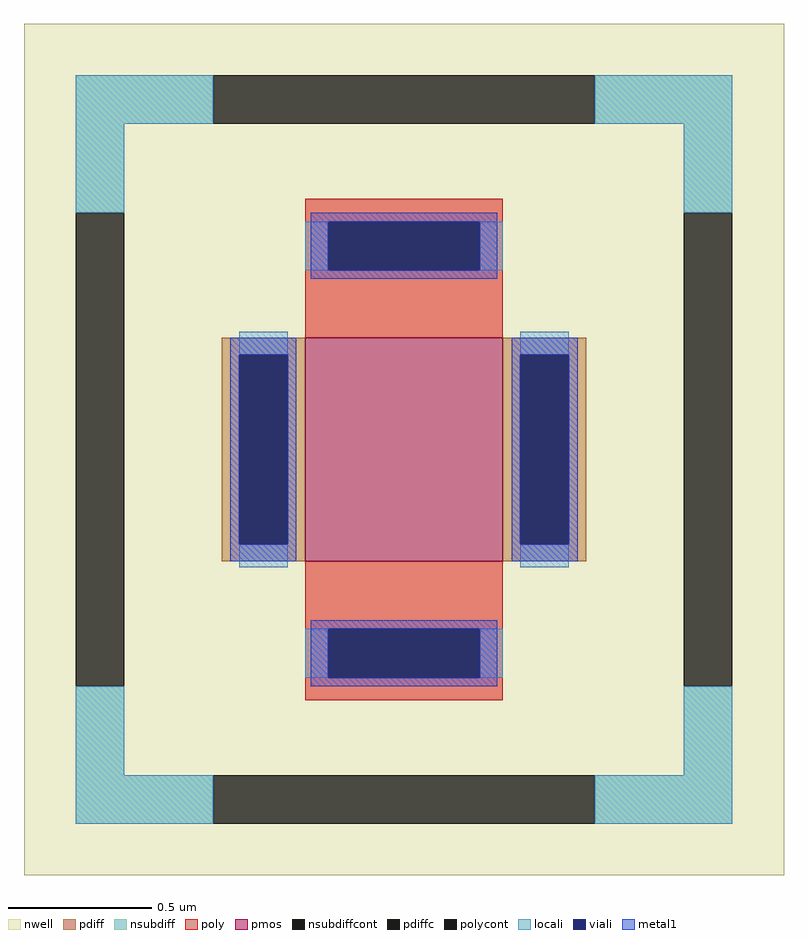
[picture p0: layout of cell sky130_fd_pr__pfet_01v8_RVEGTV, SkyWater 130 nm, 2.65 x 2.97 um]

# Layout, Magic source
magic
tech sky130A
magscale 1 2
<< nwell >>
rect -265 -297 265 297
<< pmos >>
rect -69 -78 69 78
<< pdiff >>
rect -127 66 -69 78
rect -127 -66 -115 66
rect -81 -66 -69 66
rect -127 -78 -69 -66
rect 69 66 127 78
rect 69 -66 81 66
rect 115 -66 127 66
rect 69 -78 127 -66
<< pdiffc >>
rect -115 -66 -81 66
rect 81 -66 115 66
<< nsubdiff >>
rect -229 227 -133 261
rect 133 227 229 261
rect -229 165 -195 227
rect 195 165 229 227
rect -229 -227 -195 -165
rect 195 -227 229 -165
rect -229 -261 -133 -227
rect 133 -261 229 -227
<< nsubdiffcont >>
rect -133 227 133 261
rect -229 -165 -195 165
rect 195 -165 229 165
rect -133 -261 133 -227
<< poly >>
rect -69 159 69 175
rect -69 125 -53 159
rect 53 125 69 159
rect -69 78 69 125
rect -69 -125 69 -78
rect -69 -159 -53 -125
rect 53 -159 69 -125
rect -69 -175 69 -159
<< polycont >>
rect -53 125 53 159
rect -53 -159 53 -125
<< locali >>
rect -229 227 -133 261
rect 133 227 229 261
rect -229 165 -195 227
rect 195 165 229 227
rect -69 125 -53 159
rect 53 125 69 159
rect -115 66 -81 82
rect -115 -82 -81 -66
rect 81 66 115 82
rect 81 -82 115 -66
rect -69 -159 -53 -125
rect 53 -159 69 -125
rect -229 -227 -195 -165
rect 195 -227 229 -165
rect -229 -261 -133 -227
rect 133 -261 229 -227
<< viali >>
rect -53 125 53 159
rect -115 -66 -81 66
rect 81 -66 115 66
rect -53 -159 53 -125
<< metal1 >>
rect -65 159 65 165
rect -65 125 -53 159
rect 53 125 65 159
rect -65 119 65 125
rect -121 66 -75 78
rect -121 -66 -115 66
rect -81 -66 -75 66
rect -121 -78 -75 -66
rect 75 66 121 78
rect 75 -66 81 66
rect 115 -66 121 66
rect 75 -78 121 -66
rect -65 -125 65 -119
rect -65 -159 -53 -125
rect 53 -159 65 -125
rect -65 -165 65 -159
<< properties >>
string FIXED_BBOX -212 -244 212 244
string gencell sky130_fd_pr__pfet_01v8
string library sky130
string parameters w 0.78 l 0.69 m 1 nf 1 diffcov 100 polycov 100 guard 1 glc 1 grc 1 gtc 1 gbc 1 tbcov 100 rlcov 100 topc 1 botc 1 poverlap 0 doverlap 1 lmin 0.15 wmin 0.42 compatible {sky130_fd_pr__pfet_01v8  sky130_fd_pr__pfet_01v8_lvt sky130_fd_pr__pfet_01v8_hvt  sky130_fd_pr__pfet_g5v0d10v5} full_metal 1 viasrc 100 viadrn 100 viagate 100 viagb 0 viagr 0 viagl 0 viagt 0
<< end >>
